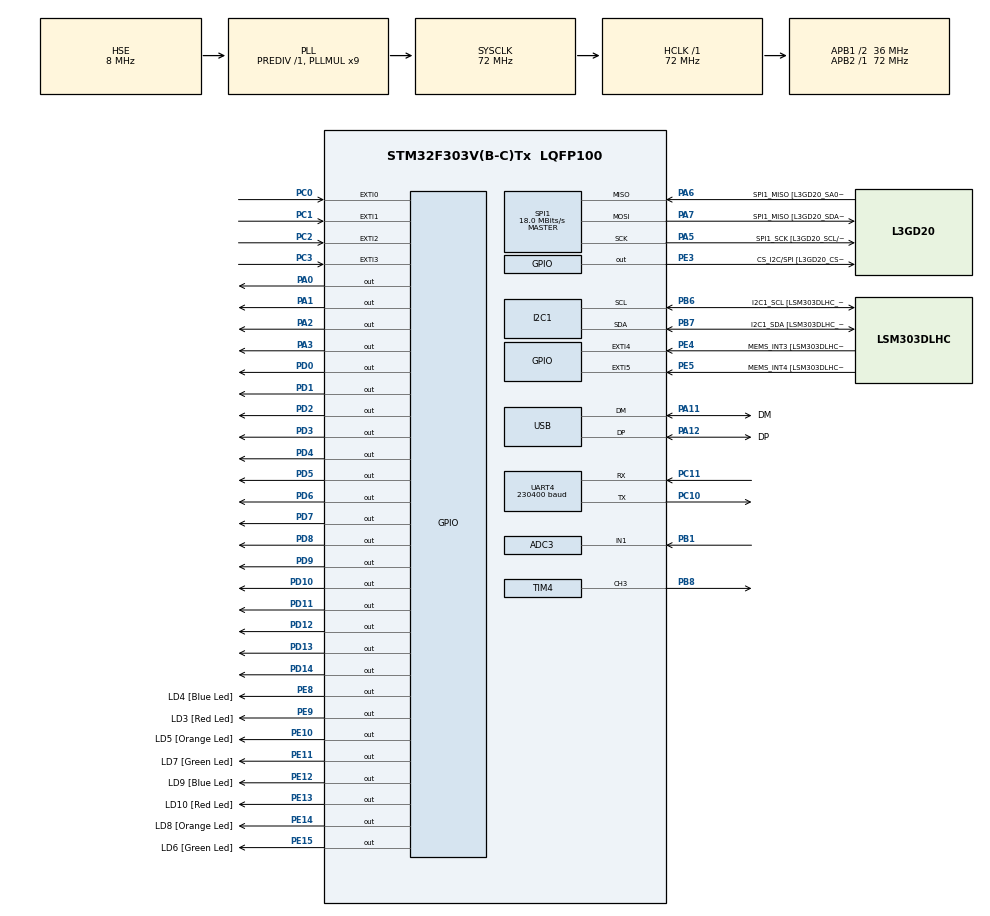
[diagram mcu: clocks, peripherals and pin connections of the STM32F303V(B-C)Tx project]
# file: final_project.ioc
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ADC3.Channel-0\#ChannelRegularConversion=ADC_CHANNEL_1
ADC3.NbrOfConversionFlag=1
ADC3.Offset-0\#ChannelRegularConversion=0
ADC3.OffsetNumber-0\#ChannelRegularConversion=ADC_OFFSET_NONE
ADC3.Rank-0\#ChannelRegularConversion=1
ADC3.Resolution=ADC_RESOLUTION_10B
ADC3.SamplingTime-0\#ChannelRegularConversion=ADC_SAMPLETIME_601CYCLES_5
ADC3.SamplingTimeOPAMP-0\#ChannelRegularConversion=ADC_SAMPLETIME_61CYCLES_5
ADC3.master=1
I2C1.Timing-I2C=0x2000090E
Mcu.Family=STM32F3
Mcu.Name=STM32F303V(B-C)Tx
Mcu.Package=LQFP100
NVIC.ADC3_IRQn=true\:0\:0\:false\:false\:true\:true\:true\:true
NVIC.EXTI0_IRQn=true\:1\:0\:true\:false\:true\:true\:true\:true
NVIC.EXTI1_IRQn=true\:1\:0\:true\:false\:true\:true\:true\:true
NVIC.EXTI2_TSC_IRQn=true\:1\:0\:true\:false\:true\:true\:true\:true
NVIC.EXTI3_IRQn=true\:1\:0\:true\:false\:true\:true\:true\:true
NVIC.PriorityGroup=NVIC_PRIORITYGROUP_3
NVIC.TIM1_BRK_TIM15_IRQn=true\:2\:0\:true\:false\:true\:true\:true\:true
NVIC.TIM1_CC_IRQn=true\:2\:0\:true\:false\:true\:true\:true\:true
NVIC.TIM1_TRG_COM_TIM17_IRQn=true\:2\:0\:true\:false\:true\:true\:true\:true
NVIC.TIM1_UP_TIM16_IRQn=true\:2\:0\:true\:false\:true\:true\:true\:true
NVIC.TIM3_IRQn=true\:3\:0\:true\:false\:true\:true\:true\:true
NVIC.UART4_IRQn=true\:0\:0\:false\:false\:true\:true\:true\:true
PA0.Signal=GPIO_Output
PA1.Signal=GPIO_Output
PA11.GPIO_Label=DM
PA11.Mode=Device
PA11.Signal=USB_DM
PA12.GPIO_Label=DP
PA12.Mode=Device
PA12.Signal=USB_DP
PA13.GPIO_Label=SWDIO
PA13.Mode=Serial_Wire
PA13.Signal=SYS_JTMS-SWDIO
PA14.GPIO_Label=SWCLK
PA14.Mode=Serial_Wire
PA14.Signal=SYS_JTCK-SWCLK
PA2.Signal=GPIO_Output
PA3.Signal=GPIO_Output
PA5.GPIO_Label=SPI1_SCK [L3GD20_SCL/SPC]
PA5.Mode=Full_Duplex_Master
PA5.Signal=SPI1_SCK
PA6.GPIO_Label=SPI1_MISO [L3GD20_SA0/SDO]
PA6.Mode=Full_Duplex_Master
PA6.Signal=SPI1_MISO
PA7.GPIO_Label=SPI1_MISO [L3GD20_SDA/SDI/SDO]
PA7.Mode=Full_Duplex_Master
PA7.Signal=SPI1_MOSI
PB1.Mode=IN1-Single-Ended
PB1.Signal=ADC3_IN1
PB3.GPIO_Label=SWO
PB3.Signal=SYS_JTDO-TRACESWO
PB6.GPIO_Label=I2C1_SCL [LSM303DLHC_SCL]
PB6.GPIO_Pu=GPIO_PULLUP
PB6.Mode=I2C
PB6.Signal=I2C1_SCL
PB7.GPIO_Label=I2C1_SDA [LSM303DLHC_SDA]
PB7.GPIO_Pu=GPIO_PULLUP
PB7.Mode=I2C
PB7.Signal=I2C1_SDA
PB8.Signal=S_TIM4_CH3
PC0.GPIO_PuPd=GPIO_PULLDOWN
PC0.Signal=GPXTI0
PC1.GPIO_PuPd=GPIO_PULLDOWN
PC1.Signal=GPXTI1
PC10.Mode=Asynchronous
PC10.Signal=UART4_TX
PC11.Mode=Asynchronous
PC11.Signal=UART4_RX
PC14-OSC32_IN.GPIO_Label=OSC32_IN
PC14-OSC32_IN.Signal=RCC_OSC32_IN
PC15-OSC32_OUT.GPIO_Label=OSC32_OUT
PC15-OSC32_OUT.Signal=RCC_OSC32_OUT
PC2.GPIO_PuPd=GPIO_PULLDOWN
PC2.Signal=GPXTI2
PC3.GPIO_PuPd=GPIO_PULLDOWN
PC3.Signal=GPXTI3
PD0.Signal=GPIO_Output
PD1.Signal=GPIO_Output
PD10.Signal=GPIO_Output
PD11.Signal=GPIO_Output
PD12.Signal=GPIO_Output
PD13.Signal=GPIO_Output
PD14.Signal=GPIO_Output
PD2.Signal=GPIO_Output
PD3.Signal=GPIO_Output
PD4.Signal=GPIO_Output
PD5.Signal=GPIO_Output
PD6.Signal=GPIO_Output
PD7.Signal=GPIO_Output
PD8.Signal=GPIO_Output
PD9.Signal=GPIO_Output
PE10.GPIO_Label=LD5 [Orange Led]
PE10.Signal=GPIO_Output
PE11.GPIO_Label=LD7 [Green Led]
PE11.Signal=GPIO_Output
PE12.GPIO_Label=LD9 [Blue Led]
PE12.Signal=GPIO_Output
PE13.GPIO_Label=LD10 [Red Led]
PE13.Signal=GPIO_Output
PE14.GPIO_Label=LD8 [Orange Led]
PE14.Signal=GPIO_Output
PE15.GPIO_Label=LD6 [Green Led]
PE15.Signal=GPIO_Output
PE3.GPIO_Label=CS_I2C/SPI [L3GD20_CS_I2C/SPI]
PE3.Signal=GPIO_Output
PE4.GPIO_Label=MEMS_INT3 [LSM303DLHC_INT1]
PE4.GPIO_ModeDefaultEXTI=GPIO_MODE_EVT_RISING
PE4.Signal=GPXTI4
PE5.GPIO_Label=MEMS_INT4 [LSM303DLHC_INT2]
PE5.GPIO_ModeDefaultEXTI=GPIO_MODE_EVT_RISING
PE5.Signal=GPXTI5
PE8.GPIO_Label=LD4 [Blue Led]
PE8.Signal=GPIO_Output
PE9.GPIO_Label=LD3 [Red Led]
PE9.Signal=GPIO_Output
PF0-OSC_IN.GPIO_Label=OSC_IN
PF0-OSC_IN.Mode=HSE-External-Clock-Source
PF0-OSC_IN.Signal=RCC_OSC_IN
PF1-OSC_OUT.GPIO_Label=OSC_OUT
PF1-OSC_OUT.Signal=RCC_OSC_OUT
ProjectManager.HeapSize=0x200
ProjectManager.StackSize=0x400
ProjectManager.TargetToolchain=STM32CubeIDE
RCC.AHBFreq_Value=72000000
RCC.APB1CLKDivider=RCC_HCLK_DIV2
RCC.APB1Freq_Value=36000000
RCC.APB1TimFreq_Value=72000000
RCC.APB2Freq_Value=72000000
RCC.APB2TimFreq_Value=72000000
RCC.CortexFreq_Value=72000000
RCC.HCLKFreq_Value=72000000
RCC.HSE_VALUE=8000000
RCC.HSI_VALUE=8000000
RCC.LSE_VALUE=32768
RCC.PLLMUL=RCC_PLL_MUL9
RCC.PRESCALERUSB=RCC_USBCLKSOURCE_PLL_DIV1_5
RCC.SYSCLKFreq_VALUE=72000000
RCC.SYSCLKSourceVirtual=RCC_SYSCLKSOURCE_PLLCLK
RCC.USBFreq_Value=48000000
RTC.AsynchPrediv=39
RTC.Format=RTC_FORMAT_BIN
RTC.SynchPrediv=999
SH.S_TIM4_CH3.0=TIM4_CH3,PWM Generation3 CH3
SPI1.BaudRatePrescaler=SPI_BAUDRATEPRESCALER_4
SPI1.BaudRatePrescaler-Full_Duplex_Master=SPI_BAUDRATEPRESCALER_2
SPI1.CalculateBaudRate=18.0 MBits/s
SPI1.CalculateBaudRate-Full_Duplex_Master=24.0 MBits/s
SPI1.Direction=SPI_DIRECTION_2LINES
SPI1.Mode=SPI_MODE_MASTER
SPI1.Mode-Full_Duplex_Master=SPI_MODE_MASTER
SPI1.VirtualType=VM_MASTER
TIM1.Period=100-1
TIM1.Prescaler=480-1
TIM2.Period=1000-1
TIM2.Prescaler=4800-1
TIM3.Period=5000-1
TIM3.Prescaler=4800-1
TIM4.Channel-PWM\ Generation3\ CH3=TIM_CHANNEL_3
UART4.BaudRate=230400
VP_RTC_VS_RTC_Activate.Mode=RTC_Enabled
VP_RTC_VS_RTC_Calendar.Mode=RTC_Calendar
VP_TIM1_VS_ClockSourceINT.Mode=Internal
VP_TIM2_VS_ClockSourceINT.Mode=Internal
VP_TIM3_VS_ClockSourceINT.Mode=Internal
VP_TIM4_VS_ClockSourceINT.Mode=Internal
board=STM32F3DISCOVERY

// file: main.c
/* USER CODE BEGIN Header */
/**
  ******************************************************************************
  * @file           : main.c
  * @brief          : Main program body
  ******************************************************************************
  * @attention
  *
  * Copyright (c) 2024 STMicroelectronics.
  * All rights reserved.
  *
  * This software is licensed under terms that can be found in the LICENSE file
  * in the root directory of this software component.
  * If no LICENSE file comes with this software, it is provided AS-IS.
  *
  ******************************************************************************
  */
/* USER CODE END Header */
#include "main.h"

/* USER CODE BEGIN Includes */
#include "LiquidCrystal.h"
#include <stdbool.h>
#include <string.h>

/* USER CODE END Includes */

/* USER CODE BEGIN PTD */
typedef struct
{
    uint16_t frequency;
    uint16_t duration;
} Tone;
/* USER CODE END PTD */

/* USER CODE BEGIN PM */
#define ARRAY_LENGTH(arr) (sizeof(arr) / sizeof((arr)[0]))
/* USER CODE END PM */

ADC_HandleTypeDef hadc3;

I2C_HandleTypeDef hi2c1;

RTC_HandleTypeDef hrtc;

SPI_HandleTypeDef hspi1;

TIM_HandleTypeDef htim1;
TIM_HandleTypeDef htim2;
TIM_HandleTypeDef htim3;
TIM_HandleTypeDef htim4;

UART_HandleTypeDef huart4;

PCD_HandleTypeDef hpcd_USB_FS;

void SystemClock_Config(void);
static void MX_GPIO_Init(void);
static void MX_I2C1_Init(void);
static void MX_SPI1_Init(void);
static void MX_USB_PCD_Init(void);
static void MX_TIM4_Init(void);
static void MX_TIM1_Init(void);
static void MX_TIM3_Init(void);
static void MX_TIM2_Init(void);
static void MX_UART4_Init(void);
static void MX_RTC_Init(void);
static void MX_ADC3_Init(void);

/* USER CODE BEGIN 0 */
typedef struct
{
	uint8_t i;
	uint8_t j;
} position;

RTC_TimeTypeDef myTime;
RTC_DateTypeDef myDate;

extern volatile uint16_t volume;
extern bool _missile_p1;
extern bool _missile_p2;
extern int missile_p1_direction;
extern int missile_p2_direction;
extern position missile_p1_;
extern position missile_p2_;
extern position burst;
extern int health_p1;
extern int health_p2;
extern int missile_p1;
extern int missile_p2;
extern int state;
extern bool _burst;
extern bool active_buzzer;
extern int missile_speed_p1;
extern int missile_speed_p2;

char uart_buffer[50];
char ch;
int time_cnt = 1;
uint8_t timer_cnt = 0;
int uart_cnt = 0;
bool sound = true;
char player1[10] = "p1";
char player2[10] = "p2";

double vol_buffer[100];
uint8_t vol_buffer_cnt = 0;
bool _chance_box = false;

const Tone fire[] =
{
	{98, 306},
	{130, 306},
	{0, 0},
};

const Tone super_mario_bros[] =
{
	{2637,306}, // E7 x2
	{   0,153}, // x3 <-- Silence
	{2637,153}, // E7
	{   0,153}, // x3
	{2093,153}, // C7
	{2637,153}, // E7
	{   0,153}, // x3
	{3136,153}, // G7
	{   0,459}, // x3
	{1586,153}, // G6
	{   0,459}, // x3

	{2093,153}, // C7
	{   0,306}, // x2
	{1586,153}, // G6
	{   0,306}, // x2
	{1319,153}, // E6
	{   0,306}, // x2
	{1760,153}, // A6
	{   0,153}, // x1
	{1976,153}, // B6
	{   0,153}, // x1
	{1865,153}, // AS6
	{1760,153}, // A6
	{   0,153}, // x1

	{1586,204}, // G6
	{2637,204}, // E7
	{3136,204}, // G7
	{3520,153}, // A7
	{   0,153}, // x1
	{2794,153}, // F7
	{3136,153}, // G7
	{   0,153}, // x1
	{2637,153}, // E7
	{   0,153}, // x1
	{2093,153}, // C7
	{2349,153}, // D7
	{1976,153}, // B6
	{   0,306}, // x2

	{2093,153}, // C7
	{   0,306}, // x2
	{1586,153}, // G6
	{   0,306}, // x2
	{1319,153}, // E6
	{   0,306}, // x2
	{1760,153}, // A6
	{   0,153}, // x1
	{1976,153}, // B6
	{   0,153}, // x1
	{1865,153}, // AS6
	{1760,153}, // A6
	{   0,153}, // x1

	{1586,204}, // G6
	{2637,204}, // E7
	{3136,204}, // G7
	{3520,153}, // A7
	{   0,153}, // x1
	{2794,153}, // F7
	{3136,153}, // G7
	{   0,153}, // x1
	{2637,153}, // E7
	{   0,153}, // x1
	{2093,153}, // C7
	{2349,153}, // D7
	{1976,153}, // B6

	{   0,  0}	// <-- Disable PWM
};

void HAL_TIM_PeriodElapsedCallback(TIM_HandleTypeDef *htim)
{

	if (htim->Instance == TIM1)
	{
		programLoop();
		HAL_ADC_Start_IT(&hadc3);
	}
	if(htim->Instance == TIM3)
	{
		timer_cnt++;
		if(_chance_box && timer_cnt > 30)
		{
			delete_chance_box();
			delete_board_chance_box();
		}
		if(_burst)
		{
			_burst = false;
			setCursor(burst.j, burst.i);
			print(" ");
		}
		if(active_buzzer)
		{
			PWM_Change_Tone(0, 0);
			active_buzzer = false;
		}

		if(_missile_p1 && timer_cnt % missile_speed_p1 == 0)
		{
			QQ(1, missile_p1_.i, missile_p1_.j);
		}
		if(_missile_p2 && timer_cnt % missile_speed_p2 == 0)
		{
			QQ(2, missile_p2_.i, missile_p2_.j);
		}
		if(state == 2 && timer_cnt == 120)
		{
			while(true)
			{
				if(add_chance_box_icon())
				{
					break;
				}
			}
			_chance_box = true;
			timer_cnt = 0;
		}
		if(state == 2 && (timer_cnt == 60 || timer_cnt == 0))
		{
			while(true)
			{
				if(add_missile_icon())
				{
					break;
				}
			}
			while(true)
			{
				if(add_health_icon())
				{
					break;
				}
			}

		}
		if(state == 5 && timer_cnt % 4 == 0) // end game animation
		{
			end_game_1();
		}
		if(state == 5 && timer_cnt % 4 == 2) // end game animation
		{
			end_game_2();
		}

	}
}

void HAL_ADC_ConvCpltCallback(ADC_HandleTypeDef *hadc)
{
	if(hadc->Instance == ADC3) // Volume
	{

		uint16_t volume_deg = HAL_ADC_GetValue(&hadc3);

		vol_buffer[vol_buffer_cnt] = volume_deg;
		vol_buffer_cnt++;

		if(vol_buffer_cnt == 50)
		{
			double sum = 0;
			for(int i = 0; i < 50; i++)
			{
				sum += vol_buffer[i];
			}
			volume_deg = sum / 50.0;
			vol_buffer_cnt = 0;

			volume = (int) (50 * ((double)volume_deg / 1024.0));

		}
	}
}

void init_data()
{
	char input_type = uart_buffer[0];

	switch(input_type)
	{
	case 'H':
		health_p1 = uart_buffer[1] - 48;
		health_p2 = health_p1;
		update_players_info();
		break;
	case 'M':
		missile_p1 = uart_buffer[1] - 48;
		missile_p2 = missile_p1;
		update_players_info();
		break;
	case 'S':
		sound = (uart_buffer[1] == 48) ? false : true;
		break;
	case 'P':

		if(uart_buffer[1] == 49) // 1
		{
			strncpy(player1, uart_buffer + 2, strlen(uart_buffer) - 2);

		}
		else if(uart_buffer[1] == 50) // 2
		{
			strncpy(player2, uart_buffer + 2, strlen(uart_buffer) - 2);

		}
		break;
	}
	memset(uart_buffer,'\0',50);

}

void HAL_UART_RxCpltCallback(UART_HandleTypeDef *huart)
{
	uart_buffer[uart_cnt] = ch;
	uart_cnt++;

	if(ch == ' ' && time_cnt < 7)
	{
		switch(time_cnt)
		{
		case 1:
			myTime.Hours = (uart_cnt == 3) ? ((uart_buffer[0] - 48) * 10 + (uart_buffer[1] - 48)) : (uart_buffer[0] - 48);
			break;
		case 2:
			myTime.Minutes = (uart_cnt == 3) ? ((uart_buffer[0] - 48) * 10 + (uart_buffer[1] - 48)) : (uart_buffer[0] - 48);
			break;
		case 3:
			myTime.Seconds = (uart_cnt == 3) ? ((uart_buffer[0] - 48) * 10 + (uart_buffer[1] - 48)) : (uart_buffer[0] - 48);

			HAL_RTC_SetTime(&hrtc, &myTime, RTC_FORMAT_BIN);
			break;
		case 4:
			myDate.Year = (uart_buffer[2] - 48) * 10 + (uart_buffer[3] - 48);
			break;
		case 5:
			myDate.Month = (uart_cnt == 3) ? ((uart_buffer[0] - 48) * 10 + (uart_buffer[1] - 48)) : (uart_buffer[0] - 48);
			break;
		case 6:

			myDate.Date = (uart_cnt == 3) ? ((uart_buffer[0] - 48) * 10 + (uart_buffer[1] - 48)) : (uart_buffer[0] - 48);

			HAL_RTC_SetDate(&hrtc, &myDate, RTC_FORMAT_BIN);

			break;
		}

		uart_cnt = 0;
		time_cnt++;
	}
	else if(ch == ' ')
	{
		init_data();
		uart_cnt = 0;

	}

	HAL_UART_Receive_IT(&huart4, &ch, 1);

}

/* USER CODE END 0 */

int main(void)
{

  /* MCU Configuration--------------------------------------------------------*/

  /* Reset of all peripherals, Initializes the Flash interface and the Systick. */
  HAL_Init();

  /* Configure the system clock */
  SystemClock_Config();

  /* Initialize all configured peripherals */
  MX_GPIO_Init();
  MX_I2C1_Init();
  MX_SPI1_Init();
  MX_USB_PCD_Init();
  MX_TIM4_Init();
  MX_TIM1_Init();
  MX_TIM3_Init();
  MX_TIM2_Init();
  MX_UART4_Init();
  MX_RTC_Init();
  MX_ADC3_Init();
  /* USER CODE BEGIN 2 */
  LiquidCrystal(GPIOD, GPIO_PIN_8, GPIO_PIN_9, GPIO_PIN_10, GPIO_PIN_11, GPIO_PIN_12, GPIO_PIN_13, GPIO_PIN_14);
  begin(20,4);
  create_char();

  HAL_TIM_Base_Start_IT(&htim1);
  HAL_TIM_Base_Start_IT(&htim3);
  HAL_UART_Receive_IT(&huart4, &ch, 1);
  HAL_ADC_Start_IT(&hadc3);
  initialize_keypad();
  update_players_info();
  PWM_Start();
  Change_Melody(super_mario_bros, ARRAY_LENGTH(super_mario_bros));

  /* USER CODE END 2 */

  /* Infinite loop */
  /* USER CODE BEGIN WHILE */
  while (1)
  {
	  clear_LCD(); // if needed
	  monitor_LCD();

    /* USER CODE END WHILE */

  }
}

void SystemClock_Config(void)
{
  RCC_OscInitTypeDef RCC_OscInitStruct = {0};
  RCC_ClkInitTypeDef RCC_ClkInitStruct = {0};
  RCC_PeriphCLKInitTypeDef PeriphClkInit = {0};

  /** Initializes the RCC Oscillators according to the specified parameters
  * in the RCC_OscInitTypeDef structure.
  */
  RCC_OscInitStruct.OscillatorType = RCC_OSCILLATORTYPE_HSI|RCC_OSCILLATORTYPE_LSI
                              |RCC_OSCILLATORTYPE_HSE;
  RCC_OscInitStruct.HSEState = RCC_HSE_BYPASS;
  RCC_OscInitStruct.HSEPredivValue = RCC_HSE_PREDIV_DIV1;
  RCC_OscInitStruct.HSIState = RCC_HSI_ON;
  RCC_OscInitStruct.HSICalibrationValue = RCC_HSICALIBRATION_DEFAULT;
  RCC_OscInitStruct.LSIState = RCC_LSI_ON;
  RCC_OscInitStruct.PLL.PLLState = RCC_PLL_ON;
  RCC_OscInitStruct.PLL.PLLSource = RCC_PLLSOURCE_HSE;
  RCC_OscInitStruct.PLL.PLLMUL = RCC_PLL_MUL9;
  if (HAL_RCC_OscConfig(&RCC_OscInitStruct) != HAL_OK)
  {
    Error_Handler();
  }

  /** Initializes the CPU, AHB and APB buses clocks
  */
  RCC_ClkInitStruct.ClockType = RCC_CLOCKTYPE_HCLK|RCC_CLOCKTYPE_SYSCLK
                              |RCC_CLOCKTYPE_PCLK1|RCC_CLOCKTYPE_PCLK2;
  RCC_ClkInitStruct.SYSCLKSource = RCC_SYSCLKSOURCE_PLLCLK;
  RCC_ClkInitStruct.AHBCLKDivider = RCC_SYSCLK_DIV1;
  RCC_ClkInitStruct.APB1CLKDivider = RCC_HCLK_DIV2;
  RCC_ClkInitStruct.APB2CLKDivider = RCC_HCLK_DIV1;

  if (HAL_RCC_ClockConfig(&RCC_ClkInitStruct, FLASH_LATENCY_2) != HAL_OK)
  {
    Error_Handler();
  }
  PeriphClkInit.PeriphClockSelection = RCC_PERIPHCLK_USB|RCC_PERIPHCLK_UART4
                              |RCC_PERIPHCLK_I2C1|RCC_PERIPHCLK_RTC
                              |RCC_PERIPHCLK_TIM1|RCC_PERIPHCLK_ADC34;
  PeriphClkInit.Uart4ClockSelection = RCC_UART4CLKSOURCE_PCLK1;
  PeriphClkInit.Adc34ClockSelection = RCC_ADC34PLLCLK_DIV1;
  PeriphClkInit.I2c1ClockSelection = RCC_I2C1CLKSOURCE_HSI;
  PeriphClkInit.RTCClockSelection = RCC_RTCCLKSOURCE_LSI;
  PeriphClkInit.USBClockSelection = RCC_USBCLKSOURCE_PLL_DIV1_5;
  PeriphClkInit.Tim1ClockSelection = RCC_TIM1CLK_HCLK;
  if (HAL_RCCEx_PeriphCLKConfig(&PeriphClkInit) != HAL_OK)
  {
    Error_Handler();
  }
}

static void MX_ADC3_Init(void)
{

  ADC_MultiModeTypeDef multimode = {0};
  ADC_ChannelConfTypeDef sConfig = {0};

  /** Common config
  */
  hadc3.Instance = ADC3;
  hadc3.Init.ClockPrescaler = ADC_CLOCK_ASYNC_DIV1;
  hadc3.Init.Resolution = ADC_RESOLUTION_10B;
  hadc3.Init.ScanConvMode = ADC_SCAN_DISABLE;
  hadc3.Init.ContinuousConvMode = DISABLE;
  hadc3.Init.DiscontinuousConvMode = DISABLE;
  hadc3.Init.ExternalTrigConvEdge = ADC_EXTERNALTRIGCONVEDGE_NONE;
  hadc3.Init.ExternalTrigConv = ADC_SOFTWARE_START;
  hadc3.Init.DataAlign = ADC_DATAALIGN_RIGHT;
  hadc3.Init.NbrOfConversion = 1;
  hadc3.Init.DMAContinuousRequests = DISABLE;
  hadc3.Init.EOCSelection = ADC_EOC_SINGLE_CONV;
  hadc3.Init.LowPowerAutoWait = DISABLE;
  hadc3.Init.Overrun = ADC_OVR_DATA_OVERWRITTEN;
  if (HAL_ADC_Init(&hadc3) != HAL_OK)
  {
    Error_Handler();
  }

  /** Configure the ADC multi-mode
  */
  multimode.Mode = ADC_MODE_INDEPENDENT;
  if (HAL_ADCEx_MultiModeConfigChannel(&hadc3, &multimode) != HAL_OK)
  {
    Error_Handler();
  }

  /** Configure Regular Channel
  */
  sConfig.Channel = ADC_CHANNEL_1;
  sConfig.Rank = ADC_REGULAR_RANK_1;
  sConfig.SingleDiff = ADC_SINGLE_ENDED;
  sConfig.SamplingTime = ADC_SAMPLETIME_601CYCLES_5;
  sConfig.OffsetNumber = ADC_OFFSET_NONE;
  sConfig.Offset = 0;
  if (HAL_ADC_ConfigChannel(&hadc3, &sConfig) != HAL_OK)
  {
    Error_Handler();
  }

}

static void MX_I2C1_Init(void)
{

  hi2c1.Instance = I2C1;
  hi2c1.Init.Timing = 0x2000090E;
  hi2c1.Init.OwnAddress1 = 0;
  hi2c1.Init.AddressingMode = I2C_ADDRESSINGMODE_7BIT;
  hi2c1.Init.DualAddressMode = I2C_DUALADDRESS_DISABLE;
  hi2c1.Init.OwnAddress2 = 0;
  hi2c1.Init.OwnAddress2Masks = I2C_OA2_NOMASK;
  hi2c1.Init.GeneralCallMode = I2C_GENERALCALL_DISABLE;
  hi2c1.Init.NoStretchMode = I2C_NOSTRETCH_DISABLE;
  if (HAL_I2C_Init(&hi2c1) != HAL_OK)
  {
    Error_Handler();
  }

  /** Configure Analogue filter
  */
  if (HAL_I2CEx_ConfigAnalogFilter(&hi2c1, I2C_ANALOGFILTER_ENABLE) != HAL_OK)
  {
    Error_Handler();
  }

  /** Configure Digital filter
  */
  if (HAL_I2CEx_ConfigDigitalFilter(&hi2c1, 0) != HAL_OK)
  {
    Error_Handler();
  }

}

static void MX_RTC_Init(void)
{

  RTC_TimeTypeDef sTime = {0};
  RTC_DateTypeDef sDate = {0};

  /** Initialize RTC Only
  */
  hrtc.Instance = RTC;
  hrtc.Init.HourFormat = RTC_HOURFORMAT_24;
  hrtc.Init.AsynchPrediv = 39;
  hrtc.Init.SynchPrediv = 999;
  hrtc.Init.OutPut = RTC_OUTPUT_DISABLE;
  hrtc.Init.OutPutPolarity = RTC_OUTPUT_POLARITY_HIGH;
  hrtc.Init.OutPutType = RTC_OUTPUT_TYPE_OPENDRAIN;
  if (HAL_RTC_Init(&hrtc) != HAL_OK)
  {
    Error_Handler();
  }

  /** Initialize RTC and set the Time and Date
  */
  sTime.Hours = 0;
  sTime.Minutes = 0;
  sTime.Seconds = 0;
  sTime.DayLightSaving = RTC_DAYLIGHTSAVING_NONE;
  sTime.StoreOperation = RTC_STOREOPERATION_RESET;
  if (HAL_RTC_SetTime(&hrtc, &sTime, RTC_FORMAT_BIN) != HAL_OK)
  {
    Error_Handler();
  }
  sDate.WeekDay = RTC_WEEKDAY_MONDAY;
  sDate.Month = RTC_MONTH_JANUARY;
  sDate.Date = 1;
  sDate.Year = 0;

  if (HAL_RTC_SetDate(&hrtc, &sDate, RTC_FORMAT_BIN) != HAL_OK)
  {
    Error_Handler();
  }

}

static void MX_SPI1_Init(void)
{

  /* SPI1 parameter configuration*/
  hspi1.Instance = SPI1;
  hspi1.Init.Mode = SPI_MODE_MASTER;
  hspi1.Init.Direction = SPI_DIRECTION_2LINES;
  hspi1.Init.DataSize = SPI_DATASIZE_4BIT;
  hspi1.Init.CLKPolarity = SPI_POLARITY_LOW;
  hspi1.Init.CLKPhase = SPI_PHASE_1EDGE;
  hspi1.Init.NSS = SPI_NSS_SOFT;
  hspi1.Init.BaudRatePrescaler = SPI_BAUDRATEPRESCALER_4;
  hspi1.Init.FirstBit = SPI_FIRSTBIT_MSB;
  hspi1.Init.TIMode = SPI_TIMODE_DISABLE;
  hspi1.Init.CRCCalculation = SPI_CRCCALCULATION_DISABLE;
  hspi1.Init.CRCPolynomial = 7;
  hspi1.Init.CRCLength = SPI_CRC_LENGTH_DATASIZE;
  hspi1.Init.NSSPMode = SPI_NSS_PULSE_ENABLE;
  if (HAL_SPI_Init(&hspi1) != HAL_OK)
  {
    Error_Handler();
  }

}

static void MX_TIM1_Init(void)
{

  TIM_ClockConfigTypeDef sClockSourceConfig = {0};
  TIM_MasterConfigTypeDef sMasterConfig = {0};

  htim1.Instance = TIM1;
  htim1.Init.Prescaler = 480-1;
  htim1.Init.CounterMode = TIM_COUNTERMODE_UP;
  htim1.Init.Period = 100-1;
  htim1.Init.ClockDivision = TIM_CLOCKDIVISION_DIV1;
  htim1.Init.RepetitionCounter = 0;
  htim1.Init.AutoReloadPreload = TIM_AUTORELOAD_PRELOAD_DISABLE;
  if (HAL_TIM_Base_Init(&htim1) != HAL_OK)
  {
    Error_Handler();
  }
  sClockSourceConfig.ClockSource = TIM_CLOCKSOURCE_INTERNAL;
  if (HAL_TIM_ConfigClockSource(&htim1, &sClockSourceConfig) != HAL_OK)
  {
    Error_Handler();
  }
  sMasterConfig.MasterOutputTrigger = TIM_TRGO_RESET;
  sMasterConfig.MasterOutputTrigger2 = TIM_TRGO2_RESET;
  sMasterConfig.MasterSlaveMode = TIM_MASTERSLAVEMODE_DISABLE;
  if (HAL_TIMEx_MasterConfigSynchronization(&htim1, &sMasterConfig) != HAL_OK)
  {
    Error_Handler();
  }

}

static void MX_TIM2_Init(void)
{

  TIM_ClockConfigTypeDef sClockSourceConfig = {0};
  TIM_MasterConfigTypeDef sMasterConfig = {0};

  htim2.Instance = TIM2;
  htim2.Init.Prescaler = 4800-1;
  htim2.Init.CounterMode = TIM_COUNTERMODE_UP;
  htim2.Init.Period = 1000-1;
  htim2.Init.ClockDivision = TIM_CLOCKDIVISION_DIV1;
  htim2.Init.AutoReloadPreload = TIM_AUTORELOAD_PRELOAD_DISABLE;
  if (HAL_TIM_Base_Init(&htim2) != HAL_OK)
  {
    Error_Handler();
  }
  sClockSourceConfig.ClockSource = TIM_CLOCKSOURCE_INTERNAL;
  if (HAL_TIM_ConfigClockSource(&htim2, &sClockSourceConfig) != HAL_OK)
  {
    Error_Handler();
  }
  sMasterConfig.MasterOutputTrigger = TIM_TRGO_RESET;
  sMasterConfig.MasterSlaveMode = TIM_MASTERSLAVEMODE_DISABLE;
  if (HAL_TIMEx_MasterConfigSynchronization(&htim2, &sMasterConfig) != HAL_OK)
  {
    Error_Handler();
  }

}

static void MX_TIM3_Init(void)
{

  TIM_ClockConfigTypeDef sClockSourceConfig = {0};
  TIM_MasterConfigTypeDef sMasterConfig = {0};

  htim3.Instance = TIM3;
  htim3.Init.Prescaler = 4800-1;
  htim3.Init.CounterMode = TIM_COUNTERMODE_UP;
  htim3.Init.Period = 5000-1;
  htim3.Init.ClockDivision = TIM_CLOCKDIVISION_DIV1;
  htim3.Init.AutoReloadPreload = TIM_AUTORELOAD_PRELOAD_DISABLE;
  if (HAL_TIM_Base_Init(&htim3) != HAL_OK)
  {
    Error_Handler();
  }
  sClockSourceConfig.ClockSource = TIM_CLOCKSOURCE_INTERNAL;
  if (HAL_TIM_ConfigClockSource(&htim3, &sClockSourceConfig) != HAL_OK)
  {
    Error_Handler();
  }
  sMasterConfig.MasterOutputTrigger = TIM_TRGO_RESET;
  sMasterConfig.MasterSlaveMode = TIM_MASTERSLAVEMODE_DISABLE;
  if (HAL_TIMEx_MasterConfigSynchronization(&htim3, &sMasterConfig) != HAL_OK)
  {
    Error_Handler();
  }

}

static void MX_TIM4_Init(void)
{

  TIM_ClockConfigTypeDef sClockSourceConfig = {0};
  TIM_MasterConfigTypeDef sMasterConfig = {0};
  TIM_OC_InitTypeDef sConfigOC = {0};

  htim4.Instance = TIM4;
  htim4.Init.Prescaler = 0;
  htim4.Init.CounterMode = TIM_COUNTERMODE_UP;
  htim4.Init.Period = 65535;
  htim4.Init.ClockDivision = TIM_CLOCKDIVISION_DIV1;
  htim4.Init.AutoReloadPreload = TIM_AUTORELOAD_PRELOAD_DISABLE;
  if (HAL_TIM_Base_Init(&htim4) != HAL_OK)
  {
    Error_Handler();
  }
  sClockSourceConfig.ClockSource = TIM_CLOCKSOURCE_INTERNAL;
  if (HAL_TIM_ConfigClockSource(&htim4, &sClockSourceConfig) != HAL_OK)
  {
    Error_Handler();
  }
  if (HAL_TIM_PWM_Init(&htim4) != HAL_OK)
  {
    Error_Handler();
  }
  sMasterConfig.MasterOutputTrigger = TIM_TRGO_RESET;
  sMasterConfig.MasterSlaveMode = TIM_MASTERSLAVEMODE_DISABLE;
  if (HAL_TIMEx_MasterConfigSynchronization(&htim4, &sMasterConfig) != HAL_OK)
  {
    Error_Handler();
  }
  sConfigOC.OCMode = TIM_OCMODE_PWM1;
  sConfigOC.Pulse = 0;
  sConfigOC.OCPolarity = TIM_OCPOLARITY_HIGH;
  sConfigOC.OCFastMode = TIM_OCFAST_DISABLE;
  if (HAL_TIM_PWM_ConfigChannel(&htim4, &sConfigOC, TIM_CHANNEL_3) != HAL_OK)
  {
    Error_Handler();
  }
  HAL_TIM_MspPostInit(&htim4);

}

static void MX_UART4_Init(void)
{

  huart4.Instance = UART4;
  huart4.Init.BaudRate = 230400;
  huart4.Init.WordLength = UART_WORDLENGTH_8B;
  huart4.Init.StopBits = UART_STOPBITS_1;
  huart4.Init.Parity = UART_PARITY_NONE;
  huart4.Init.Mode = UART_MODE_TX_RX;
  huart4.Init.HwFlowCtl = UART_HWCONTROL_NONE;
  huart4.Init.OverSampling = UART_OVERSAMPLING_16;
  huart4.Init.OneBitSampling = UART_ONE_BIT_SAMPLE_DISABLE;
  huart4.AdvancedInit.AdvFeatureInit = UART_ADVFEATURE_NO_INIT;
  if (HAL_UART_Init(&huart4) != HAL_OK)
  {
    Error_Handler();
  }

}

static void MX_USB_PCD_Init(void)
{

  hpcd_USB_FS.Instance = USB;
  hpcd_USB_FS.Init.dev_endpoints = 8;
  hpcd_USB_FS.Init.speed = PCD_SPEED_FULL;
  hpcd_USB_FS.Init.phy_itface = PCD_PHY_EMBEDDED;
  hpcd_USB_FS.Init.low_power_enable = DISABLE;
  hpcd_USB_FS.Init.battery_charging_enable = DISABLE;
  if (HAL_PCD_Init(&hpcd_USB_FS) != HAL_OK)
  {
    Error_Handler();
  }

}

static void MX_GPIO_Init(void)
{
  GPIO_InitTypeDef GPIO_InitStruct = {0};

  /* GPIO Ports Clock Enable */
  __HAL_RCC_GPIOE_CLK_ENABLE();
  __HAL_RCC_GPIOC_CLK_ENABLE();
  __HAL_RCC_GPIOF_CLK_ENABLE();
  __HAL_RCC_GPIOA_CLK_ENABLE();
  __HAL_RCC_GPIOB_CLK_ENABLE();
  __HAL_RCC_GPIOD_CLK_ENABLE();

  /*Configure GPIO pin Output Level */
  HAL_GPIO_WritePin(GPIOE, CS_I2C_SPI_Pin|LD4_Pin|LD3_Pin|LD5_Pin
                          |LD7_Pin|LD9_Pin|LD10_Pin|LD8_Pin
                          |LD6_Pin, GPIO_PIN_RESET);

  /*Configure GPIO pin Output Level */
  HAL_GPIO_WritePin(GPIOA, GPIO_PIN_0|GPIO_PIN_1|GPIO_PIN_2|GPIO_PIN_3, GPIO_PIN_RESET);

  /*Configure GPIO pin Output Level */
  HAL_GPIO_WritePin(GPIOD, GPIO_PIN_8|GPIO_PIN_9|GPIO_PIN_10|GPIO_PIN_11
                          |GPIO_PIN_12|GPIO_PIN_13|GPIO_PIN_14|GPIO_PIN_0
                          |GPIO_PIN_1|GPIO_PIN_2|GPIO_PIN_3|GPIO_PIN_4
                          |GPIO_PIN_5|GPIO_PIN_6|GPIO_PIN_7, GPIO_PIN_RESET);

  /*Configure GPIO pins : CS_I2C_SPI_Pin LD4_Pin LD3_Pin LD5_Pin
                           LD7_Pin LD9_Pin LD10_Pin LD8_Pin
                           LD6_Pin */
  GPIO_InitStruct.Pin = CS_I2C_SPI_Pin|LD4_Pin|LD3_Pin|LD5_Pin
                          |LD7_Pin|LD9_Pin|LD10_Pin|LD8_Pin
                          |LD6_Pin;
  GPIO_InitStruct.Mode = GPIO_MODE_OUTPUT_PP;
  GPIO_InitStruct.Pull = GPIO_NOPULL;
  GPIO_InitStruct.Speed = GPIO_SPEED_FREQ_LOW;
  HAL_GPIO_Init(GPIOE, &GPIO_InitStruct);

  /*Configure GPIO pins : MEMS_INT3_Pin MEMS_INT4_Pin */
  GPIO_InitStruct.Pin = MEMS_INT3_Pin|MEMS_INT4_Pin;
  GPIO_InitStruct.Mode = GPIO_MODE_EVT_RISING;
  GPIO_InitStruct.Pull = GPIO_NOPULL;
  HAL_GPIO_Init(GPIOE, &GPIO_InitStruct);

  /*Configure GPIO pins : PC0 PC1 PC2 PC3 */
  GPIO_InitStruct.Pin = GPIO_PIN_0|GPIO_PIN_1|GPIO_PIN_2|GPIO_PIN_3;
  GPIO_InitStruct.Mode = GPIO_MODE_IT_RISING;
  GPIO_InitStruct.Pull = GPIO_PULLDOWN;
  HAL_GPIO_Init(GPIOC, &GPIO_InitStruct);

  /*Configure GPIO pins : PA0 PA1 PA2 PA3 */
  GPIO_InitStruct.Pin = GPIO_PIN_0|GPIO_PIN_1|GPIO_PIN_2|GPIO_PIN_3;
  GPIO_InitStruct.Mode = GPIO_MODE_OUTPUT_PP;
  GPIO_InitStruct.Pull = GPIO_NOPULL;
  GPIO_InitStruct.Speed = GPIO_SPEED_FREQ_LOW;
  HAL_GPIO_Init(GPIOA, &GPIO_InitStruct);

  /*Configure GPIO pins : PD8 PD9 PD10 PD11
                           PD12 PD13 PD14 PD0
                           PD1 PD2 PD3 PD4
                           PD5 PD6 PD7 */
  GPIO_InitStruct.Pin = GPIO_PIN_8|GPIO_PIN_9|GPIO_PIN_10|GPIO_PIN_11
                          |GPIO_PIN_12|GPIO_PIN_13|GPIO_PIN_14|GPIO_PIN_0
                          |GPIO_PIN_1|GPIO_PIN_2|GPIO_PIN_3|GPIO_PIN_4
                          |GPIO_PIN_5|GPIO_PIN_6|GPIO_PIN_7;
  GPIO_InitStruct.Mode = GPIO_MODE_OUTPUT_PP;
  GPIO_InitStruct.Pull = GPIO_NOPULL;
  GPIO_InitStruct.Speed = GPIO_SPEED_FREQ_LOW;
  HAL_GPIO_Init(GPIOD, &GPIO_InitStruct);

  /* EXTI interrupt init*/
  HAL_NVIC_SetPriority(EXTI0_IRQn, 1, 0);
  HAL_NVIC_EnableIRQ(EXTI0_IRQn);

  HAL_NVIC_SetPriority(EXTI1_IRQn, 1, 0);
  HAL_NVIC_EnableIRQ(EXTI1_IRQn);

  HAL_NVIC_SetPriority(EXTI2_TSC_IRQn, 1, 0);
  HAL_NVIC_EnableIRQ(EXTI2_TSC_IRQn);

  HAL_NVIC_SetPriority(EXTI3_IRQn, 1, 0);
  HAL_NVIC_EnableIRQ(EXTI3_IRQn);

}

void Error_Handler(void)
{
  __disable_irq();
  while (1)
  {
  }
}
